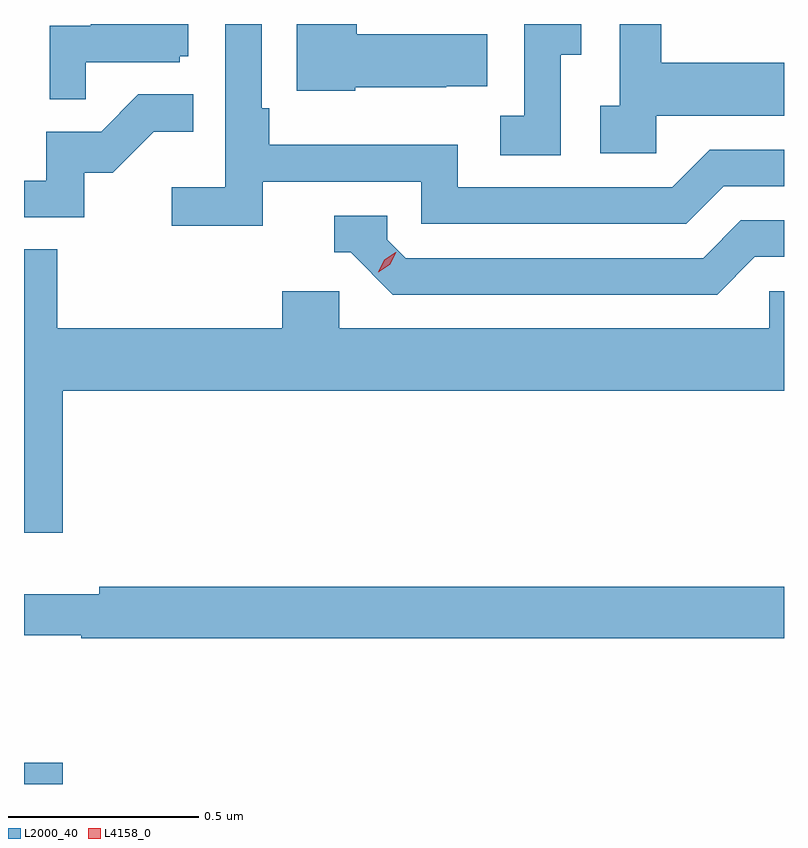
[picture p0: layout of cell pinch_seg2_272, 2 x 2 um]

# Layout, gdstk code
import gdstk
lib = gdstk.Library(unit=1e-6, precision=1e-09)
def R(c, l, rs):  # rectangles x0, y0, x1, y1
    for r in rs: c.add(gdstk.rectangle(r[:2], r[2:], *l))
def P(c, l, *ps):  # polygons
    for p in ps: c.add(gdstk.Polygon(p, *l))
L2000_40 = (2000, 40)
L4158_0 = (4158, 0)

pinch_seg2_272 = lib.new_cell('pinch_seg2_272')
R(pinch_seg2_272, L2000_40, [(896.338,662.585,896.44,662.641)])
P(pinch_seg2_272, L2000_40, [(896.501,664.485),(896.748,664.485),(896.748,664.5),(896.77,664.5),(896.77,664.585),(896.513,664.585),(896.513,664.581),(896.406,664.581),(896.406,664.387),(896.501,664.387)],
  [(897.75,664.504),(897.805,664.504),(897.805,664.585),(897.654,664.585),(897.654,664.343),(897.591,664.343),(897.591,664.24),(897.75,664.24)],
  [(897.21,664.418),(897.449,664.418),(897.449,664.421),(897.557,664.421),(897.557,664.558),(897.214,664.558),(897.214,664.585),(897.056,664.585),(897.056,664.409),(897.21,664.409)],
  [(898.002,664.343),(898.338,664.343),(898.338,664.483),(898.015,664.483),(898.015,664.585),(897.906,664.585),(897.906,664.37),(897.855,664.37),(897.855,664.245),(898.002,664.245)],
  [(896.966,664.17),(897.384,664.17),(897.384,664.059),(898.081,664.059),(898.18,664.158),(898.338,664.158),(898.338,664.254),(898.143,664.254),(898.044,664.155),(897.48,664.155),(897.48,664.267),(896.984,664.267),(896.984,664.363),(896.964,664.363),(896.964,664.585),(896.868,664.585),(896.868,664.156),(896.727,664.156),(896.727,664.054),(896.966,664.054)],
  [(896.496,664.194),(896.572,664.194),(896.679,664.301),(896.783,664.301),(896.783,664.4),(896.639,664.4),(896.541,664.302),(896.397,664.302),(896.397,664.173),(896.338,664.173),(896.338,664.077),(896.496,664.077)],
  [(898.261,663.972),(898.338,663.972),(898.338,664.068),(898.224,664.068),(898.125,663.969),(897.342,663.969),(897.294,664.017),(897.294,664.08),(897.155,664.08),(897.155,663.984),(897.198,663.984),(897.309,663.873),(898.162,663.873)],
  [(896.44,663.62),(898.338,663.62),(898.338,663.882),(898.299,663.882),(898.299,663.784),(897.168,663.784),(897.168,663.882),(897.017,663.882),(897.017,663.784),(896.426,663.784),(896.426,663.992),(896.338,663.992),(896.338,663.246),(896.44,663.246)],
  [(898.338,663.104),(896.536,663.104),(896.536,663.085),(896.338,663.085),(896.338,662.976),(896.488,662.976),(896.488,662.968),(898.338,662.968)])
P(pinch_seg2_272, L4158_0, [(897.27,663.932),(897.27,663.932),(897.286,663.965),(897.316,663.984),(897.317,663.984),(897.317,663.984),(897.301,663.951),(897.27,663.932)])

lib.write_gds('pinch_seg2_272.gds')
